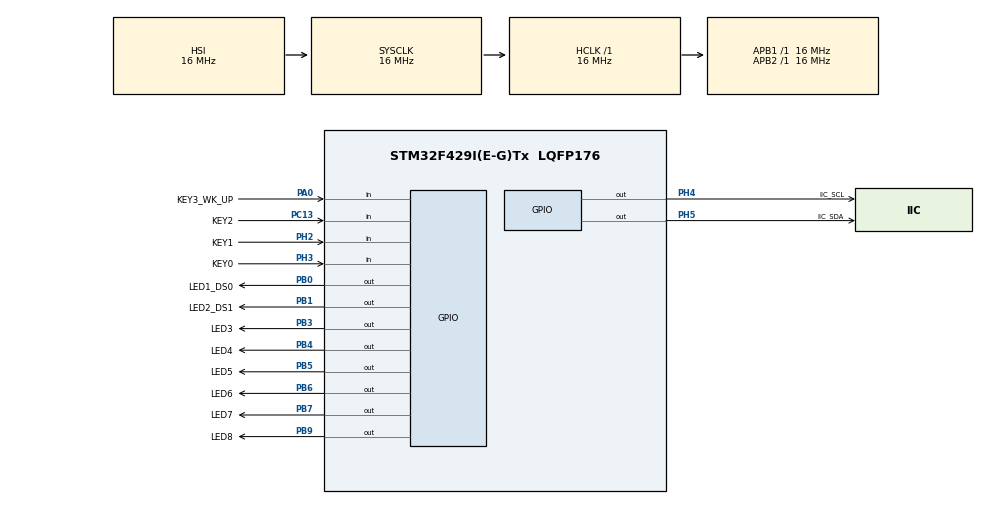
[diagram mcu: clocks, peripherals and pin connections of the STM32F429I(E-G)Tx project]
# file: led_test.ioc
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Mcu.Family=STM32F4
Mcu.Name=STM32F429I(E-G)Tx
Mcu.Package=LQFP176
NVIC.PriorityGroup=NVIC_PRIORITYGROUP_4
PA0.GPIO_Label=KEY3_WK_UP
PA0.GPIO_PuPd=GPIO_PULLDOWN
PA0.Signal=GPIO_Input
PA13.Mode=Serial_Wire
PA13.Signal=SYS_JTMS-SWDIO
PA14.Mode=Serial_Wire
PA14.Signal=SYS_JTCK-SWCLK
PB0.GPIO_Label=LED1_DS0
PB0.GPIO_PuPd=GPIO_PULLUP
PB0.PinState=GPIO_PIN_SET
PB0.Signal=GPIO_Output
PB1.GPIO_Label=LED2_DS1
PB1.GPIO_PuPd=GPIO_PULLUP
PB1.PinState=GPIO_PIN_SET
PB1.Signal=GPIO_Output
PB3.GPIO_Label=LED3
PB3.GPIO_PuPd=GPIO_PULLUP
PB3.PinState=GPIO_PIN_SET
PB3.Signal=GPIO_Output
PB4.GPIO_Label=LED4
PB4.GPIO_PuPd=GPIO_PULLUP
PB4.PinState=GPIO_PIN_SET
PB4.Signal=GPIO_Output
PB5.GPIO_Label=LED5
PB5.GPIO_PuPd=GPIO_PULLUP
PB5.PinState=GPIO_PIN_SET
PB5.Signal=GPIO_Output
PB6.GPIO_Label=LED6
PB6.GPIO_PuPd=GPIO_PULLUP
PB6.PinState=GPIO_PIN_SET
PB6.Signal=GPIO_Output
PB7.GPIO_Label=LED7
PB7.GPIO_PuPd=GPIO_PULLUP
PB7.PinState=GPIO_PIN_SET
PB7.Signal=GPIO_Output
PB9.GPIO_Label=LED8
PB9.GPIO_PuPd=GPIO_PULLUP
PB9.PinState=GPIO_PIN_SET
PB9.Signal=GPIO_Output
PC13.GPIO_Label=KEY2
PC13.GPIO_PuPd=GPIO_PULLUP
PC13.Signal=GPIO_Input
PC14/OSC32_IN.Mode=LSE-External-Oscillator
PC14/OSC32_IN.Signal=RCC_OSC32_IN
PC15/OSC32_OUT.Mode=LSE-External-Oscillator
PC15/OSC32_OUT.Signal=RCC_OSC32_OUT
PH0/OSC_IN.Mode=HSE-External-Oscillator
PH0/OSC_IN.Signal=RCC_OSC_IN
PH1/OSC_OUT.Mode=HSE-External-Oscillator
PH1/OSC_OUT.Signal=RCC_OSC_OUT
PH2.GPIO_Label=KEY1
PH2.GPIO_PuPd=GPIO_PULLUP
PH2.Signal=GPIO_Input
PH3.GPIO_Label=KEY0
PH3.GPIO_PuPd=GPIO_PULLUP
PH3.Signal=GPIO_Input
PH4.GPIO_Label=IIC_SCL
PH4.GPIO_Mode=GPIO_MODE_OUTPUT_OD
PH4.GPIO_PuPd=GPIO_PULLUP
PH4.PinState=GPIO_PIN_SET
PH4.Signal=GPIO_Output
PH5.GPIO_Label=IIC_SDA
PH5.GPIO_Mode=GPIO_MODE_OUTPUT_OD
PH5.GPIO_PuPd=GPIO_PULLUP
PH5.PinState=GPIO_PIN_SET
PH5.Signal=GPIO_Output
ProjectManager.HeapSize=0x200
ProjectManager.StackSize=0x400
ProjectManager.TargetToolchain=STM32CubeIDE
RCC.AHBFreq_Value=16000000
RCC.APB1CLKDivider=RCC_HCLK_DIV1
RCC.APB1Freq_Value=16000000
RCC.APB1TimFreq_Value=16000000
RCC.APB2CLKDivider=RCC_HCLK_DIV1
RCC.APB2Freq_Value=16000000
RCC.APB2TimFreq_Value=16000000
RCC.CortexFreq_Value=16000000
RCC.HCLKFreq_Value=16000000
RCC.HSE_VALUE=25000000
RCC.HSI_VALUE=16000000
RCC.PLLM=16
RCC.PLLN=288
RCC.PLLSourceVirtual=RCC_PLLSOURCE_HSI
RCC.PLLState=RCC_PLL_NONE
RCC.SYSCLKFreq_VALUE=16000000
RCC.SYSCLKSource=RCC_SYSCLKSOURCE_HSI
RCC.VCOOutputFreq_Value=288000000
board=custom

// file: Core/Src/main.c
/* USER CODE BEGIN Header */
/**
  ******************************************************************************
  * @file           : main.c
  * @brief          : Main program body
  ******************************************************************************
  * @attention
  *
  * Copyright (c) 2026 STMicroelectronics.
  * All rights reserved.
  *
  * This software is licensed under terms that can be found in the LICENSE file
  * in the root directory of this software component.
  * If no LICENSE file comes with this software, it is provided AS-IS.
  *
  ******************************************************************************
  */
/* USER CODE END Header */
#include "main.h"
#include "gpio.h"

/* USER CODE BEGIN Includes */
#include "led.h"
#include "key.h"
#include "beep.h"
/* USER CODE END Includes */

void SystemClock_Config(void);

int main(void)
{
  /* USER CODE BEGIN 1 */
  uint8_t  cur_effect  = EFFECT_FLOW;   /* 当前灯效编号 0~3 */
  uint16_t effect_step = 0;             /* 当前灯效已经走到第几步 */
  uint32_t effect_tick = 0;             /* 上一次推进灯效的时间 */
  uint8_t  key;                         /* 本次扫描到的按键值：0=无，1~4=第几个键 */
  /* USER CODE END 1 */

  /* MCU Configuration--------------------------------------------------------*/

  /* Reset of all peripherals, Initializes the Flash interface and the Systick. */
  HAL_Init();

  /* Configure the system clock */
  SystemClock_Config();

  /* Initialize all configured peripherals */
  MX_GPIO_Init();
  /* USER CODE BEGIN 2 */
  led_init();                           /* 初始化 8 个 LED */
  key_init();                           /* 初始化 4 个按键 */
  beep_init();                          /* 初始化蜂鸣器 */
  effect_run(cur_effect, 0);            /* 先显示第 1 种灯效的第 0 步 */
  effect_tick = HAL_GetTick();
  /* USER CODE END 2 */

  /* Infinite loop */
  /* USER CODE BEGIN WHILE */
  while (1)
  {
    /* ---- 1. 扫描按键：有按键按下就切换灯效，并让蜂鸣器响一声 ---- */
    key = key_scan();
    if (key != 0)
    {
      cur_effect  = (uint8_t)(key - 1);        /* 按键 1~4 对应 4 种灯效 */
      effect_step = 0;
      effect_tick = HAL_GetTick();
      effect_run(cur_effect, effect_step);     /* 立刻切到新灯效的第一步 */
      beep_start(BEEP_DEFAULT_MS);             /* 蜂鸣器只响一次（80ms 后自动关） */
    }

    /* ---- 2. 到时间就推进一步灯效（用时间判断，不用 HAL_Delay，按键才不会被卡住）---- */
    if ((HAL_GetTick() - effect_tick) >= effect_interval(cur_effect))
    {
      effect_tick = HAL_GetTick();
      effect_step++;
      effect_run(cur_effect, effect_step);
    }

    /* ---- 3. 蜂鸣器计时处理（到时间自动关闭）---- */
    beep_task();

    /* USER CODE END WHILE */

  }
}

void SystemClock_Config(void)
{
  RCC_OscInitTypeDef RCC_OscInitStruct = {0};
  RCC_ClkInitTypeDef RCC_ClkInitStruct = {0};

  /* 临时测试用：使用内部 16 MHz HSI 作为系统时钟，排除高频不稳定的可能 */

  __HAL_RCC_PWR_CLK_ENABLE();
  __HAL_PWR_VOLTAGESCALING_CONFIG(PWR_REGULATOR_VOLTAGE_SCALE1);

  RCC_OscInitStruct.OscillatorType = RCC_OSCILLATORTYPE_HSI;
  RCC_OscInitStruct.HSIState = RCC_HSI_ON;
  RCC_OscInitStruct.HSICalibrationValue = RCC_HSICALIBRATION_DEFAULT;
  RCC_OscInitStruct.PLL.PLLState = RCC_PLL_NONE;
  if (HAL_RCC_OscConfig(&RCC_OscInitStruct) != HAL_OK)
  {
    Error_Handler();
  }

  RCC_ClkInitStruct.ClockType = RCC_CLOCKTYPE_HCLK|RCC_CLOCKTYPE_SYSCLK
                              |RCC_CLOCKTYPE_PCLK1|RCC_CLOCKTYPE_PCLK2;
  RCC_ClkInitStruct.SYSCLKSource = RCC_SYSCLKSOURCE_HSI;
  RCC_ClkInitStruct.AHBCLKDivider = RCC_SYSCLK_DIV1;
  RCC_ClkInitStruct.APB1CLKDivider = RCC_HCLK_DIV1;
  RCC_ClkInitStruct.APB2CLKDivider = RCC_HCLK_DIV1;

  if (HAL_RCC_ClockConfig(&RCC_ClkInitStruct, FLASH_LATENCY_0) != HAL_OK)
  {
    Error_Handler();
  }
}

void Error_Handler(void)
{
  __disable_irq();
  while (1)
  {
  }
}
